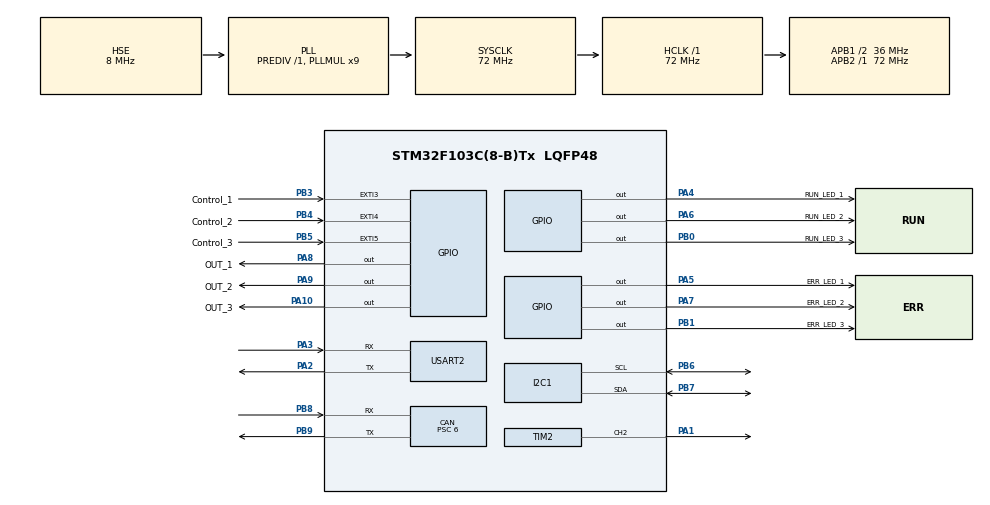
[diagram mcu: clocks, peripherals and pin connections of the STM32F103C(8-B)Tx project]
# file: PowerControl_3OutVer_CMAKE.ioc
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CAN.BS1=CAN_BS1_3TQ
CAN.BS2=CAN_BS2_2TQ
CAN.CalculateBaudRate=999999
CAN.CalculateTimeBit=1000
CAN.CalculateTimeQuantum=166.66666666666669
CAN.Prescaler=6
I2C1.I2C_Mode=I2C_Fast
IWDG.Prescaler=IWDG_PRESCALER_256
Mcu.Family=STM32F1
Mcu.Name=STM32F103C(8-B)Tx
Mcu.Package=LQFP48
NVIC.EXTI3_IRQn=true\:1\:0\:true\:false\:true\:true\:true\:true
NVIC.EXTI4_IRQn=true\:1\:0\:true\:false\:true\:true\:true\:true
NVIC.EXTI9_5_IRQn=true\:1\:0\:true\:false\:true\:true\:true\:true
NVIC.PriorityGroup=NVIC_PRIORITYGROUP_2
NVIC.TIM1_UP_IRQn=true\:2\:2\:true\:false\:true\:true\:true\:true
NVIC.TIM3_IRQn=true\:2\:3\:true\:false\:true\:true\:true\:true
NVIC.TIM4_IRQn=true\:2\:3\:true\:false\:true\:true\:true\:true
NVIC.USART2_IRQn=true\:2\:1\:true\:false\:true\:true\:true\:true
PA1.Signal=S_TIM2_CH2
PA10.GPIO_Label=OUT_3
PA10.Signal=GPIO_Output
PA13.Mode=Serial_Wire
PA13.Signal=SYS_JTMS-SWDIO
PA14.Mode=Serial_Wire
PA14.Signal=SYS_JTCK-SWCLK
PA2.Mode=Asynchronous
PA2.Signal=USART2_TX
PA3.Mode=Asynchronous
PA3.Signal=USART2_RX
PA4.GPIO_Label=RUN_LED_1
PA4.Signal=GPIO_Output
PA5.GPIO_Label=ERR_LED_1
PA5.Signal=GPIO_Output
PA6.GPIO_Label=RUN_LED_2
PA6.Signal=GPIO_Output
PA7.GPIO_Label=ERR_LED_2
PA7.Signal=GPIO_Output
PA8.GPIO_Label=OUT_1
PA8.Signal=GPIO_Output
PA9.GPIO_Label=OUT_2
PA9.Signal=GPIO_Output
PB0.GPIO_Label=RUN_LED_3
PB0.Signal=GPIO_Output
PB1.GPIO_Label=ERR_LED_3
PB1.Signal=GPIO_Output
PB3.GPIO_Label=Control_1
PB3.GPIO_ModeDefaultEXTI=GPIO_MODE_IT_RISING_FALLING
PB3.Signal=GPXTI3
PB4.GPIO_Label=Control_2
PB4.GPIO_ModeDefaultEXTI=GPIO_MODE_IT_RISING_FALLING
PB4.Signal=GPXTI4
PB5.GPIO_Label=Control_3
PB5.GPIO_ModeDefaultEXTI=GPIO_MODE_IT_RISING_FALLING
PB5.Signal=GPXTI5
PB6.Mode=I2C
PB6.Signal=I2C1_SCL
PB7.Mode=I2C
PB7.Signal=I2C1_SDA
PB8.Mode=CAN_Activate
PB8.Signal=CAN_RX
PB9.Mode=CAN_Activate
PB9.Signal=CAN_TX
PD0-OSC_IN.Mode=HSE-External-Oscillator
PD0-OSC_IN.Signal=RCC_OSC_IN
PD1-OSC_OUT.Mode=HSE-External-Oscillator
PD1-OSC_OUT.Signal=RCC_OSC_OUT
ProjectManager.HeapSize=0x200
ProjectManager.StackSize=0x400
ProjectManager.TargetToolchain=CMake
RCC.AHBFreq_Value=72000000
RCC.APB1CLKDivider=RCC_HCLK_DIV2
RCC.APB1Freq_Value=36000000
RCC.APB1TimFreq_Value=72000000
RCC.APB2Freq_Value=72000000
RCC.APB2TimFreq_Value=72000000
RCC.HCLKFreq_Value=72000000
RCC.PLLMUL=RCC_PLL_MUL9
RCC.PLLSourceVirtual=RCC_PLLSOURCE_HSE
RCC.SYSCLKFreq_VALUE=72000000
RCC.SYSCLKSource=RCC_SYSCLKSOURCE_PLLCLK
RCC.USBFreq_Value=72000000
SH.S_TIM2_CH2.0=TIM2_CH2,PWM Generation2 CH2
TIM1.Period=1000-1
TIM1.Prescaler=7200-1
TIM2.Channel-PWM\ Generation2\ CH2=TIM_CHANNEL_2
TIM2.Period=0
TIM2.Prescaler=0
TIM3.Period=1000-1
TIM3.Prescaler=7200-1
TIM4.Period=1000-1
TIM4.Prescaler=72-1
USART2.VirtualMode=VM_ASYNC
VP_IWDG_VS_IWDG.Mode=IWDG_Activate
VP_TIM1_VS_ClockSourceINT.Mode=Internal
VP_TIM3_VS_ClockSourceINT.Mode=Internal
VP_TIM4_VS_ClockSourceINT.Mode=Internal
board=custom

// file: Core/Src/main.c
/* USER CODE BEGIN Header */
/**
  ******************************************************************************
  * @file           : main.c
  * @brief          : Main program body
  ******************************************************************************
  * @attention
  *
  * Copyright (c) 2026 STMicroelectronics.
  * All rights reserved.
  *
  * This software is licensed under terms that can be found in the LICENSE file
  * in the root directory of this software component.
  * If no LICENSE file comes with this software, it is provided AS-IS.
  *
  ******************************************************************************
  */
/* clang-format off */
/* USER CODE END Header */
#include "main.h"
#include "can.h"
#include "i2c.h"
#include "iwdg.h"
#include "tim.h"
#include "usart.h"
#include "gpio.h"

/* USER CODE BEGIN Includes */
#include "Power.h"
#include "INA3221.h"
#include "Buzzer.h"
#include "LED.h"
#include "Button.h"
#include "Message.h"
#include "Log.h"

/* USER CODE END Includes */

/* USER CODE BEGIN PV */
Power_Control power;
INA3221_STATE Ina3221_State;
INA3221 power_read;

/* USER CODE END PV */

void SystemClock_Config(void);

int main(void)
{

  /* MCU Configuration--------------------------------------------------------*/

  /* Reset of all peripherals, Initializes the Flash interface and the Systick. */
  HAL_Init();

  /* Configure the system clock */
  SystemClock_Config();

  /* Initialize all configured peripherals */
  MX_GPIO_Init();
  MX_CAN_Init();
  MX_I2C1_Init();
  MX_TIM1_Init();
  MX_TIM2_Init();
  MX_TIM3_Init();
  MX_TIM4_Init();
  MX_USART2_UART_Init();
  MX_IWDG_Init();
  /* USER CODE BEGIN 2 */
  Init_Power_Control(&power);//初始化电源控制结构体
  Init_Power_Read(&power_read);//初始化电源读取结构体
  power.Init(&power);
  CAN_Connect_Init();
  Ina3221_State = power_read.Init(&power_read);
  Button_Init();
  LED_Init();
  Buzzer_Init();
  Buzzer_Switch(BUZZER_SYSTEM_INIT);
  Send_Period_Init();
  HAL_TIM_Base_Start_IT(&htim3);
  Log_Init();
  __HAL_DBGMCU_FREEZE_IWDG();
  power.Switch(&power, POWER_OUT_1|POWER_OUT_2|POWER_OUT_3, POWER_ON, 0x00);
  /* USER CODE END 2 */

  /* Infinite loop */
  /* USER CODE BEGIN WHILE */
  while (1)
  {
    HAL_IWDG_Refresh(&hiwdg);
    /* USER CODE END WHILE */

    /* USER CODE BEGIN 3 */
    /* clang-format on */
    Log_Check();
    /*按键LED部分*/
    if(button_1_counter_state == COUNTER_LONG_START)
    {
      LED_Switch(LED_RUN_1, LED_FLOWING_1);
    }
    if(button_2_counter_state == COUNTER_LONG_START)
    {
      LED_Switch(LED_RUN_2, LED_FLOWING_2);
    }
    if(button_3_counter_state == COUNTER_LONG_START)
    {
      LED_Switch(LED_RUN_3, LED_FLOWING_3);
    }
    /*按键POWER部分*/
    if(button_1_state == BUTTON_STATE_CHANGE)
    {
      if(power.Power_Channel_State & POWER_ON_1)
      {
        power.Switch(&power, POWER_OUT_1, POWER_OFF, 0x00);
      } else
      {
        power.Switch(&power, POWER_OUT_1, POWER_ON, 0x00);
      }
      button_1_state = BUTTON_STATE_IDLE;
    }
    if(button_2_state == BUTTON_STATE_CHANGE)
    {
      if(power.Power_Channel_State & POWER_ON_2)
      {
        power.Switch(&power, POWER_OUT_2, POWER_OFF, 0x00);
      } else
      {
        power.Switch(&power, POWER_OUT_2, POWER_ON, 0x00);
      }
      button_2_state = BUTTON_STATE_IDLE;
    }
    if(button_3_state == BUTTON_STATE_CHANGE)
    {
      if(power.Power_Channel_State & POWER_ON_3)
      {
        power.Switch(&power, POWER_OUT_3, POWER_OFF, 0x00);
      } else
      {
        power.Switch(&power, POWER_OUT_3, POWER_ON, 0x00);
      }
      button_3_state = BUTTON_STATE_IDLE;
    }
    /*电源监测部分*/
    Ina3221_State = power_read.Read_Loop(&power_read, &power);
    /*进行滤波处理*/
    if(Ina3221_State == INA3221_STATE_READ_OK)
    {
      /*只有一轮完整读取完毕，才存入滤波器*/
      if(power_read.read_data_mutex!=true)
      {
        power_read.read_data_mutex = true;
        power_read.Median_Filter(&power_read, &power);
        power_read.read_data_mutex = false;
      }
      if(power_read.filter_init != true)
      {
        continue; /*等待滤波器数据装满初始化*/
      }
      /*进行一次电源控制和保护检测*/
      power_read.Voltage_Control_Loop(&power_read, &power);
      power_read.Current_Control_Loop(&power_read, &power);
    } else if(Ina3221_State == INA3221_STATE_ERROR)
    {
      /*I2C通信异常，尝试重新初始化INA3221，而非死等看门狗复位*/
      power_read.i2c_error_count++;
      if(power_read.i2c_error_count > 10)  // 连续10次错误则重启INA3221
      {
        power_read.i2c_error_count = 0;
        power_read.Init(&power_read);
      }
    } else
    {
      /*非错误状态，清零错误计数*/
      power_read.i2c_error_count = 0;
    }
    /*打印Log数据*/
    if(Log_State == LOG_ON)
    {
      Log_printf(&power, &power_read);
    }
    /*检查是否为急停*/
    if(power.Power_Channel_State == POWER_BREAKDOWN)
    {
      power.Switch(&power, POWER_OUT_ALL, POWER_OFF, POWER_OUT_ALL);
      /*急停后跳过本轮电源检测，避免断电瞬间I2C抖动导致ERROR死循环*/
      HAL_IWDG_Refresh(&hiwdg);
      continue;
    }
    /*清空对于关闭后的端口的电压和电流数据*/
    if(power_read.read_data_mutex != true)
    {
      power_read.read_data_mutex = true;
      for(uint8_t i = 0; i < 3; i++)
      {
        if((power_read.channel_state & (1U << i)) == 0U)
        {
          power_read.Power_Data.voltage[i] = 0.0f;
          power_read.Power_Data.current[i] = 0.0f;
        }
      }
      power_read.read_data_mutex = false;
    }
    if(power.Power_Channel_State == POWER_ALL_OFF)
    {
      Buzzer_Switch(BUZZER_OFF);
    }
    HAL_Delay(1);
  }
  /* clang-format off */
  /* USER CODE END 3 */
}

void SystemClock_Config(void)
{
  RCC_OscInitTypeDef RCC_OscInitStruct = {0};
  RCC_ClkInitTypeDef RCC_ClkInitStruct = {0};

  /** Initializes the RCC Oscillators according to the specified parameters
  * in the RCC_OscInitTypeDef structure.
  */
  RCC_OscInitStruct.OscillatorType = RCC_OSCILLATORTYPE_LSI|RCC_OSCILLATORTYPE_HSE;
  RCC_OscInitStruct.HSEState = RCC_HSE_ON;
  RCC_OscInitStruct.HSEPredivValue = RCC_HSE_PREDIV_DIV1;
  RCC_OscInitStruct.HSIState = RCC_HSI_ON;
  RCC_OscInitStruct.LSIState = RCC_LSI_ON;
  RCC_OscInitStruct.PLL.PLLState = RCC_PLL_ON;
  RCC_OscInitStruct.PLL.PLLSource = RCC_PLLSOURCE_HSE;
  RCC_OscInitStruct.PLL.PLLMUL = RCC_PLL_MUL9;
  if (HAL_RCC_OscConfig(&RCC_OscInitStruct) != HAL_OK)
  {
    Error_Handler();
  }

  /** Initializes the CPU, AHB and APB buses clocks
  */
  RCC_ClkInitStruct.ClockType = RCC_CLOCKTYPE_HCLK|RCC_CLOCKTYPE_SYSCLK
                              |RCC_CLOCKTYPE_PCLK1|RCC_CLOCKTYPE_PCLK2;
  RCC_ClkInitStruct.SYSCLKSource = RCC_SYSCLKSOURCE_PLLCLK;
  RCC_ClkInitStruct.AHBCLKDivider = RCC_SYSCLK_DIV1;
  RCC_ClkInitStruct.APB1CLKDivider = RCC_HCLK_DIV2;
  RCC_ClkInitStruct.APB2CLKDivider = RCC_HCLK_DIV1;

  if (HAL_RCC_ClockConfig(&RCC_ClkInitStruct, FLASH_LATENCY_2) != HAL_OK)
  {
    Error_Handler();
  }
}

void Error_Handler(void)
{
  __disable_irq();
  while (1)
  {
  }
}
